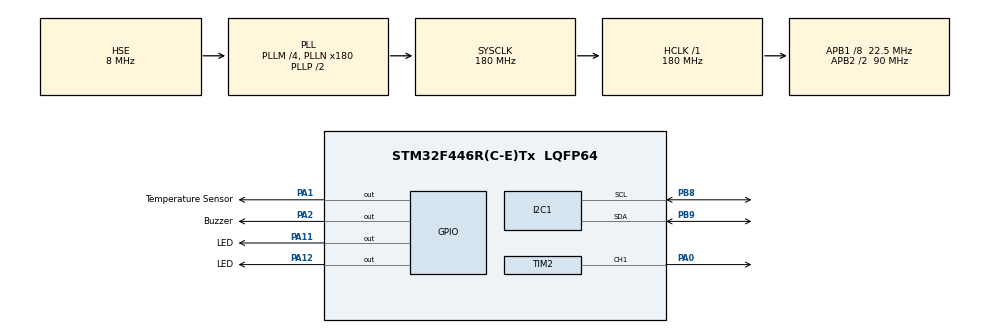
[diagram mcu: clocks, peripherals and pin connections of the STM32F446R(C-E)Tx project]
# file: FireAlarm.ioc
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Mcu.Family=STM32F4
RCC.PLLSourceVirtual=RCC_PLLSOURCE_HSE
PH0-OSC_IN.Signal=RCC_OSC_IN
RCC.CortexFreq_Value=180000000
TIM6.Prescaler=50-1
VP_TIM6_VS_ClockSourceINT.Mode=Enable_Timer
PA11.GPIO_Label=LED
RCC.APB1CLKDivider=RCC_HCLK_DIV8
PA12.GPIO_Label=LED
RCC.SYSCLKSource=RCC_SYSCLKSOURCE_PLLCLK
ProjectManager.StackSize=0x400
PA0-WKUP.Signal=S_TIM2_CH1_ETR
PA12.Signal=GPIO_Output
ProjectManager.TargetToolchain=STM32CubeIDE
RCC.HCLKFreq_Value=180000000
RCC.APB2TimFreq_Value=180000000
PB9.Mode=I2C
RCC.USBFreq_Value=180000000
PA1.Signal=GPIO_Output
RCC.AHBFreq_Value=180000000
PH0-OSC_IN.Mode=HSE-External-Oscillator
RCC.HSE_VALUE=8000000
board=custom
RCC.VCOOutputFreq_Value=360000000
RCC.APB2Freq_Value=90000000
VP_TIM2_VS_ClockSourceINT.Mode=Internal
PA1.GPIO_Label=Temperature Sensor
PH1-OSC_OUT.Signal=RCC_OSC_OUT
TIM2.Channel-PWM\ Generation1\ CH1=TIM_CHANNEL_1
TIM2.Period=255-1
TIM6.Period=0xffff-1
Mcu.Name=STM32F446R(C-E)Tx
PA2.Signal=GPIO_Output
PH1-OSC_OUT.Mode=HSE-External-Oscillator
RCC.SYSCLKFreq_VALUE=180000000
Mcu.Package=LQFP64
PB9.Signal=I2C1_SDA
TIM2.Prescaler=692-1
PA2.GPIO_Label=Buzzer
PA11.Signal=GPIO_Output
SH.S_TIM2_CH1_ETR.0=TIM2_CH1,PWM Generation1 CH1
ProjectManager.HeapSize=0x200
NVIC.PriorityGroup=NVIC_PRIORITYGROUP_4
RCC.APB2CLKDivider=RCC_HCLK_DIV2
RCC.PLLM=4
PB8.Mode=I2C
RCC.PLLN=180
RCC.APB1TimFreq_Value=45000000
PB8.Signal=I2C1_SCL
RCC.APB1Freq_Value=22500000

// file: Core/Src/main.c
/* USER CODE BEGIN Header */
/**
  ******************************************************************************
  * @file           : main.c
  * @brief          : Main program body
  ******************************************************************************
  * @attention
  *
  * <h2><center>&copy; Copyright (c) 2021 STMicroelectronics.
  * All rights reserved.</center></h2>
  *
  * This software component is licensed by ST under BSD 3-Clause license,
  * the "License"; You may not use this file except in compliance with the
  * License. You may obtain a copy of the License at:
  *                        opensource.org/licenses/BSD-3-Clause
  *
  ******************************************************************************
  */
/* USER CODE END Header */
#include "main.h"

/* USER CODE BEGIN Includes */
#include "i2c-lcd.h"
#include "stm32f4xx_hal.h"
#include "stdio.h"
#include "stm32f4xx_hal_conf.h"

/* USER CODE END Includes */

I2C_HandleTypeDef hi2c1;

TIM_HandleTypeDef htim2;
TIM_HandleTypeDef htim6;

void SystemClock_Config(void);
static void MX_GPIO_Init(void);
static void MX_I2C1_Init(void);
static void MX_TIM6_Init(void);
static void MX_TIM2_Init(void);

/* USER CODE BEGIN 0 */

void delay (uint16_t time)
{
	/* change your code here for the delay in microseconds */
	__HAL_TIM_SET_COUNTER(&htim6, 0);
	while ((__HAL_TIM_GET_COUNTER(&htim6))<time);
}

void Display_Temp (float Temp)
{
	char str[20] = {0};
	lcd_put_cur(0, 0);

	sprintf (str, "TEMP:- %.2f ", Temp);
	lcd_send_string(str);
	lcd_send_data('C');
}

void Display_Rh (float Rh)
{
	char str[20] = {0};
	lcd_put_cur(1, 0);

	sprintf (str, "RH:- %.2f ", Rh);
	lcd_send_string(str);
	lcd_send_data('%');
}

uint8_t Rh_byte1, Rh_byte2, Temp_byte1, Temp_byte2, value;
uint16_t SUM, RH, TEMP;

float Temperature = 0;
float Humidity = 0;
uint8_t Presence = 0;

void Set_Pin_Output (GPIO_TypeDef *GPIOx, uint16_t GPIO_Pin)
{
	GPIO_InitTypeDef GPIO_InitStruct = {0};
	GPIO_InitStruct.Pin = GPIO_Pin;
	GPIO_InitStruct.Mode = GPIO_MODE_OUTPUT_PP;
	GPIO_InitStruct.Speed = GPIO_SPEED_FREQ_LOW;
	HAL_GPIO_Init(GPIOx, &GPIO_InitStruct);
}

void Set_Pin_Input (GPIO_TypeDef *GPIOx, uint16_t GPIO_Pin)
{
	GPIO_InitTypeDef GPIO_InitStruct = {0};
	GPIO_InitStruct.Pin = GPIO_Pin;
	GPIO_InitStruct.Mode = GPIO_MODE_INPUT;
	GPIO_InitStruct.Pull = GPIO_PULLUP;
	HAL_GPIO_Init(GPIOx, &GPIO_InitStruct);
}

#define DHT11_PORT GPIOA
#define DHT11_PIN GPIO_PIN_1

void DHT11_Start (void)
{
	Set_Pin_Output(DHT11_PORT, DHT11_PIN); // set the pin as output
	HAL_GPIO_WritePin(DHT11_PORT, DHT11_PIN, 1); // send out start signal
	delay(1000); // wait for 1ms
	HAL_GPIO_WritePin(DHT11_PORT, DHT11_PIN, 0); // pull the pin low
	delay (18000); // wait for 18ms
	HAL_GPIO_WritePin(DHT11_PORT, DHT11_PIN, 1);  // pull the pin high
	delay(20); // wait for 20us
	Set_Pin_Input(DHT11_PORT, DHT11_PIN); // set the pin as input
}

uint8_t DHT11_Check_Response (void)
{
	uint8_t Response = 0;
	delay (40);
	if (!(HAL_GPIO_ReadPin (DHT11_PORT, DHT11_PIN)))
	{
		delay (80);
		if ((HAL_GPIO_ReadPin (DHT11_PORT, DHT11_PIN))) Response = 1;
		else Response = -1; // 255
	}
	while ((HAL_GPIO_ReadPin (DHT11_PORT, DHT11_PIN)));   // wait for the pin to go low

	return Response;
}

uint8_t DHT11_Read (void)
{
	uint8_t i,j;
	for (j=0;j<8;j++)
	{
		while (!(HAL_GPIO_ReadPin (DHT11_PORT, DHT11_PIN)));   // wait for the pin to go high
		delay (40);   // wait for 40 us
		if (!(HAL_GPIO_ReadPin (DHT11_PORT, DHT11_PIN)))   // if the pin is low
		{
			i&= ~(1<<(7-j));   // write 0
		}
		else i|= (1<<(7-j));  // if the pin is high, write 1
		while ((HAL_GPIO_ReadPin (DHT11_PORT, DHT11_PIN)));  // wait for the pin to go low
	}
	return i;
}

void LED_green (void)
{
	HAL_GPIO_WritePin(GPIOA, GPIO_PIN_11, 1);
	HAL_Delay(100);
	/*HAL_GPIO_WritePin(GPIOA, GPIO_PIN_11, 0);
	HAL_Delay(10);*/

}

void RED_LED (void)
{
	HAL_GPIO_WritePin(GPIOA, GPIO_PIN_12, 1);
	HAL_Delay(100);
	HAL_GPIO_WritePin(GPIOA, GPIO_PIN_12, 0);
	HAL_Delay(50);
	//int value = 10;

}

void Buzzer (void)
{
	  //while (value<255)
	  //{
		  htim2.Instance->CCR1 = value;
		  value +=20;
		  HAL_Delay (500);
		  if (Temperature < 32){
			  value = 255;
		  }
	  //}

}

int _write(int file, char *ptr, int len)
{
  /* Implement your write code here, this is used by puts and printf for example */
  int i=0;
  for(i=0 ; i<len ; i++)
    ITM_SendChar((*ptr++));
  return len;
}

uint8_t value = 0;

/* USER CODE END 0 */

int main(void)
{

  /* MCU Configuration--------------------------------------------------------*/

  /* Reset of all peripherals, Initializes the Flash interface and the Systick. */
  HAL_Init();

  /* Configure the system clock */
  SystemClock_Config();

  /* Initialize all configured peripherals */
  MX_GPIO_Init();
  MX_I2C1_Init();
  MX_TIM6_Init();
  MX_TIM2_Init();
  /* USER CODE BEGIN 2 */
  HAL_TIM_Base_Start(&htim6);
  //HAL_TIM_PWM_Start(&htim2, TIM_CHANNEL_1);

   lcd_init();
   lcd_send_string("INITIALISING>>>>");
   HAL_Delay(2000);
   lcd_clear ();
  /* USER CODE END 2 */

  /* Infinite loop */
  while (1)
  {

    /* USER CODE BEGIN 3 */

	  	  Display_Temp(Temperature);
	  	  Display_Rh(Humidity);

	  	  /********************** DHT11 *********************/
	  	  DHT11_Start();
	  	  Presence = DHT11_Check_Response();
	  	  Rh_byte1 = DHT11_Read ();
	  	  Rh_byte2 = DHT11_Read ();
	  	  Temp_byte1 = DHT11_Read ();
	  	  Temp_byte2 = DHT11_Read ();
	  	  SUM = DHT11_Read();

	  	  TEMP = Temp_byte1;
	  	  RH = Rh_byte1;

	  	  Temperature = (float) TEMP;
	  	  Humidity = (float) RH;

		  if(Temperature > 40){
			  if(Humidity<40){
				  RED_LED ();
				  HAL_GPIO_WritePin(GPIOA, GPIO_PIN_11, 0);
				  HAL_TIM_PWM_Start(&htim2, TIM_CHANNEL_1);
				  Buzzer();
			  }
		  }
		  else if(Temperature < 40){

			  HAL_GPIO_WritePin(GPIOA, GPIO_PIN_11, 1);
		  	  HAL_Delay(100);
		  	  HAL_TIM_PWM_Stop(&htim2, TIM_CHANNEL_1);
		  }

	  	  HAL_Delay(1200);
  }
  /* USER CODE END 3 */
}

void SystemClock_Config(void)
{
  RCC_OscInitTypeDef RCC_OscInitStruct = {0};
  RCC_ClkInitTypeDef RCC_ClkInitStruct = {0};

  /** Configure the main internal regulator output voltage
  */
  __HAL_RCC_PWR_CLK_ENABLE();
  __HAL_PWR_VOLTAGESCALING_CONFIG(PWR_REGULATOR_VOLTAGE_SCALE1);
  /** Initializes the RCC Oscillators according to the specified parameters
  * in the RCC_OscInitTypeDef structure.
  */
  RCC_OscInitStruct.OscillatorType = RCC_OSCILLATORTYPE_HSE;
  RCC_OscInitStruct.HSEState = RCC_HSE_ON;
  RCC_OscInitStruct.PLL.PLLState = RCC_PLL_ON;
  RCC_OscInitStruct.PLL.PLLSource = RCC_PLLSOURCE_HSE;
  RCC_OscInitStruct.PLL.PLLM = 4;
  RCC_OscInitStruct.PLL.PLLN = 180;
  RCC_OscInitStruct.PLL.PLLP = RCC_PLLP_DIV2;
  RCC_OscInitStruct.PLL.PLLQ = 2;
  RCC_OscInitStruct.PLL.PLLR = 2;
  if (HAL_RCC_OscConfig(&RCC_OscInitStruct) != HAL_OK)
  {
    Error_Handler();
  }
  /** Activate the Over-Drive mode
  */
  if (HAL_PWREx_EnableOverDrive() != HAL_OK)
  {
    Error_Handler();
  }
  /** Initializes the CPU, AHB and APB buses clocks
  */
  RCC_ClkInitStruct.ClockType = RCC_CLOCKTYPE_HCLK|RCC_CLOCKTYPE_SYSCLK
                              |RCC_CLOCKTYPE_PCLK1|RCC_CLOCKTYPE_PCLK2;
  RCC_ClkInitStruct.SYSCLKSource = RCC_SYSCLKSOURCE_PLLCLK;
  RCC_ClkInitStruct.AHBCLKDivider = RCC_SYSCLK_DIV1;
  RCC_ClkInitStruct.APB1CLKDivider = RCC_HCLK_DIV8;
  RCC_ClkInitStruct.APB2CLKDivider = RCC_HCLK_DIV2;

  if (HAL_RCC_ClockConfig(&RCC_ClkInitStruct, FLASH_LATENCY_5) != HAL_OK)
  {
    Error_Handler();
  }
}

static void MX_I2C1_Init(void)
{

  hi2c1.Instance = I2C1;
  hi2c1.Init.ClockSpeed = 100000;
  hi2c1.Init.DutyCycle = I2C_DUTYCYCLE_2;
  hi2c1.Init.OwnAddress1 = 0;
  hi2c1.Init.AddressingMode = I2C_ADDRESSINGMODE_7BIT;
  hi2c1.Init.DualAddressMode = I2C_DUALADDRESS_DISABLE;
  hi2c1.Init.OwnAddress2 = 0;
  hi2c1.Init.GeneralCallMode = I2C_GENERALCALL_DISABLE;
  hi2c1.Init.NoStretchMode = I2C_NOSTRETCH_DISABLE;
  if (HAL_I2C_Init(&hi2c1) != HAL_OK)
  {
    Error_Handler();
  }

}

static void MX_TIM2_Init(void)
{

  TIM_ClockConfigTypeDef sClockSourceConfig = {0};
  TIM_MasterConfigTypeDef sMasterConfig = {0};
  TIM_OC_InitTypeDef sConfigOC = {0};

  htim2.Instance = TIM2;
  htim2.Init.Prescaler = 692-1;
  htim2.Init.CounterMode = TIM_COUNTERMODE_UP;
  htim2.Init.Period = 255-1;
  htim2.Init.ClockDivision = TIM_CLOCKDIVISION_DIV1;
  htim2.Init.AutoReloadPreload = TIM_AUTORELOAD_PRELOAD_DISABLE;
  if (HAL_TIM_Base_Init(&htim2) != HAL_OK)
  {
    Error_Handler();
  }
  sClockSourceConfig.ClockSource = TIM_CLOCKSOURCE_INTERNAL;
  if (HAL_TIM_ConfigClockSource(&htim2, &sClockSourceConfig) != HAL_OK)
  {
    Error_Handler();
  }
  if (HAL_TIM_PWM_Init(&htim2) != HAL_OK)
  {
    Error_Handler();
  }
  sMasterConfig.MasterOutputTrigger = TIM_TRGO_RESET;
  sMasterConfig.MasterSlaveMode = TIM_MASTERSLAVEMODE_DISABLE;
  if (HAL_TIMEx_MasterConfigSynchronization(&htim2, &sMasterConfig) != HAL_OK)
  {
    Error_Handler();
  }
  sConfigOC.OCMode = TIM_OCMODE_PWM1;
  sConfigOC.Pulse = 0;
  sConfigOC.OCPolarity = TIM_OCPOLARITY_HIGH;
  sConfigOC.OCFastMode = TIM_OCFAST_DISABLE;
  if (HAL_TIM_PWM_ConfigChannel(&htim2, &sConfigOC, TIM_CHANNEL_1) != HAL_OK)
  {
    Error_Handler();
  }
  HAL_TIM_MspPostInit(&htim2);

}

static void MX_TIM6_Init(void)
{

  TIM_MasterConfigTypeDef sMasterConfig = {0};

  htim6.Instance = TIM6;
  htim6.Init.Prescaler = 50-1;
  htim6.Init.CounterMode = TIM_COUNTERMODE_UP;
  htim6.Init.Period = 0xffff-1;
  htim6.Init.AutoReloadPreload = TIM_AUTORELOAD_PRELOAD_DISABLE;
  if (HAL_TIM_Base_Init(&htim6) != HAL_OK)
  {
    Error_Handler();
  }
  sMasterConfig.MasterOutputTrigger = TIM_TRGO_RESET;
  sMasterConfig.MasterSlaveMode = TIM_MASTERSLAVEMODE_DISABLE;
  if (HAL_TIMEx_MasterConfigSynchronization(&htim6, &sMasterConfig) != HAL_OK)
  {
    Error_Handler();
  }

}

static void MX_GPIO_Init(void)
{
  GPIO_InitTypeDef GPIO_InitStruct = {0};

  /* GPIO Ports Clock Enable */
  __HAL_RCC_GPIOH_CLK_ENABLE();
  __HAL_RCC_GPIOA_CLK_ENABLE();
  __HAL_RCC_GPIOB_CLK_ENABLE();

  /*Configure GPIO pin Output Level */
  HAL_GPIO_WritePin(GPIOA, Temperature_Sensor_Pin|Buzzer_Pin|LED_Pin|LEDA12_Pin, GPIO_PIN_RESET);

  /*Configure GPIO pins : Temperature_Sensor_Pin Buzzer_Pin LED_Pin LEDA12_Pin */
  GPIO_InitStruct.Pin = Temperature_Sensor_Pin|Buzzer_Pin|LED_Pin|LEDA12_Pin;
  GPIO_InitStruct.Mode = GPIO_MODE_OUTPUT_PP;
  GPIO_InitStruct.Pull = GPIO_NOPULL;
  GPIO_InitStruct.Speed = GPIO_SPEED_FREQ_LOW;
  HAL_GPIO_Init(GPIOA, &GPIO_InitStruct);

}

void Error_Handler(void)
{
  __disable_irq();
  while (1)
  {
  }
}

/************************ (C) COPYRIGHT STMicroelectronics *****END OF FILE****/
